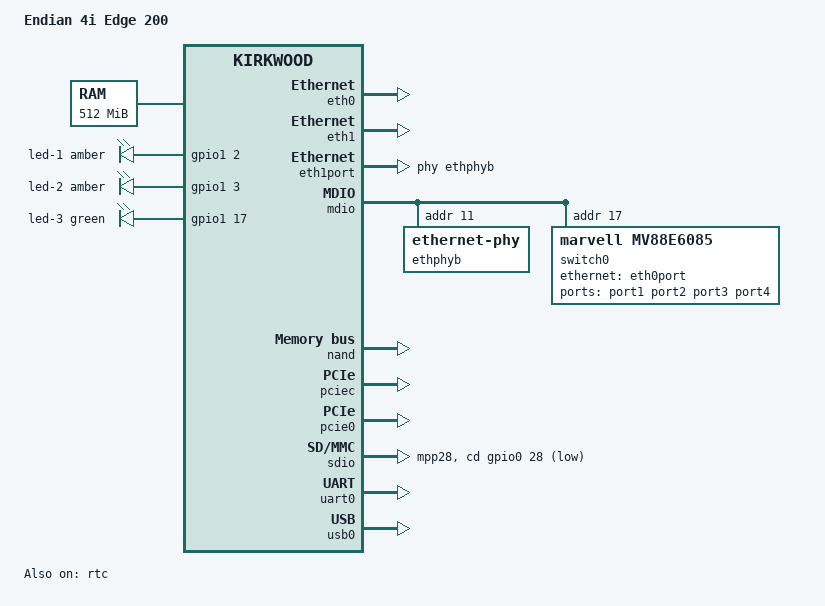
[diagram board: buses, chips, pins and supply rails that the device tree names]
// SPDX-License-Identifier: (GPL-2.0+ OR MIT)
/*
 * Endian 4i Edge 200 Board Description
 * Note: Endian UTM Mini is hardware clone of Endian Edge 200
 * Copyright 2021-2022 Pawel Dembicki <paweldembicki@gmail.com>
 */

/dts-v1/;

#include "kirkwood.dtsi"
#include "kirkwood-6281.dtsi"
#include <dt-bindings/leds/common.h>

/ {
	model = "Endian 4i Edge 200";
	compatible = "endian,4i-edge-200", "marvell,kirkwood-88f6281", "marvell,kirkwood";

	memory {
		device_type = "memory";
		reg = <0x00000000 0x20000000>;
	};

	chosen {
		bootargs = "console=ttyS0,115200n8";
		stdout-path = &uart0;
	};

	leds {
		compatible = "gpio-leds";
		pinctrl-0 = <&pmx_led>;
		pinctrl-names = "default";

		led-1 {
			function = LED_FUNCTION_SD;
			color = <LED_COLOR_ID_AMBER>;
			gpios = <&gpio1 2 GPIO_ACTIVE_HIGH>;
			linux,default-trigger = "mmc0";
		};

		led-2 {
			function = LED_FUNCTION_STATUS;
			color = <LED_COLOR_ID_AMBER>;
			gpios = <&gpio1 3 GPIO_ACTIVE_HIGH>;
		};

		led-3 {
			function = LED_FUNCTION_STATUS;
			color = <LED_COLOR_ID_GREEN>;
			gpios = <&gpio1 17 GPIO_ACTIVE_HIGH>;
		};
	};
};

&eth0 {
	status = "okay";
};

&eth0port {
	speed = <1000>;
	duplex = <1>;
};

&eth1 {
	status = "okay";
};

&eth1port {
	phy-handle = <&ethphyb>;
};

&mdio {
	status = "okay";

	ethphyb: ethernet-phy@b {
		reg = <0x0b>;

		marvell,reg-init =
			/* link-activity, bi-color mode 4 */
			<3 0x10 0xfff0 0xf>; /* Reg 3,16 <- 0xzzzf */
	};

	switch0: switch@11 {
		compatible = "marvell,mv88e6085";
		reg = <0x11>;

		ports {
			#address-cells = <1>;
			#size-cells = <0>;

			port@0 {
				reg = <0>;
				label = "port1";
			};

			port@1 {
				reg = <1>;
				label = "port2";
			};

			port@2 {
				reg = <2>;
				label = "port3";
			};

			port@3 {
				reg = <3>;
				label = "port4";
			};

			port@5 {
				reg = <5>;
				phy-mode = "rgmii-id";
				ethernet = <&eth0port>;

				fixed-link {
					speed = <1000>;
					full-duplex;
				};
			};
		};
	};
};

&nand {
	status = "okay";
	pinctrl-0 = <&pmx_nand>;
	pinctrl-names = "default";

	partition@0 {
		label = "u-boot";
		reg = <0x00000000 0x000a0000>;
		read-only;
	};

	partition@a0000 {
		label = "u-boot-env";
		reg = <0x000a0000 0x00060000>;
		read-only;
	};

	partition@100000 {
		label = "kernel";
		reg = <0x00100000 0x00400000>;
	};

	partition@500000 {
		label = "ubi";
		reg = <0x00500000 0x1fb00000>;
	};
};

&pciec {
	status = "okay";
};

&pcie0 {
	status = "okay";
};

&pinctrl {
	pinctrl-0 = <&pmx_sysrst>;
	pinctrl-names = "default";

	pmx_sysrst: pmx-sysrst {
		marvell,pins = "mpp6";
		marvell,function = "sysrst";
	};

	pmx_sdio_cd: pmx-sdio-cd {
		marvell,pins = "mpp28";
		marvell,function = "gpio";
	};

	pmx_led: pmx-led {
		marvell,pins = "mpp34", "mpp35", "mpp49";
		marvell,function = "gpio";
	};
};

&rtc {
	status = "okay";
};

&sata_phy0 {
	status = "disabled";
};

&sata_phy1 {
	status = "disabled";
};

&sdio {
	pinctrl-0 = <&pmx_sdio_cd>;
	pinctrl-names = "default";
	status = "okay";
	cd-gpios = <&gpio0 28 9>;
};

&uart0 {
	status = "okay";
};

&usb0 {
	status = "okay";
};
